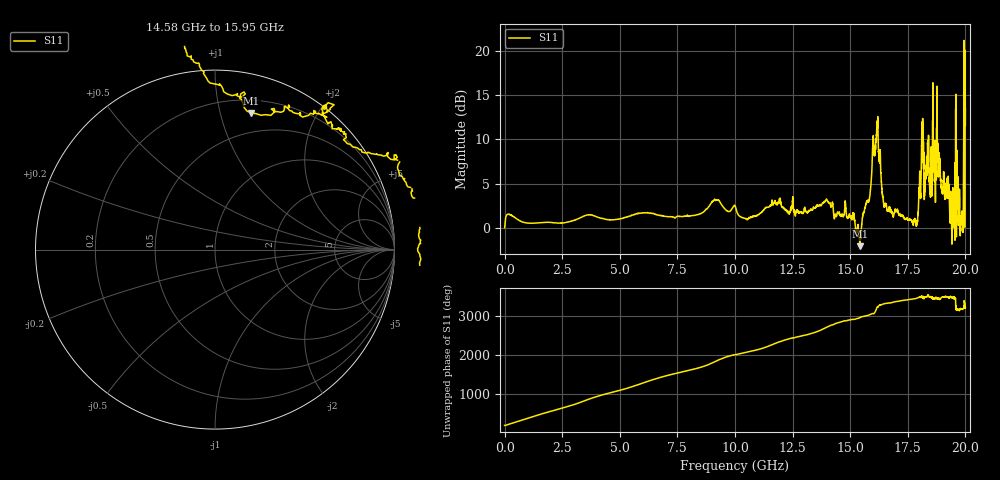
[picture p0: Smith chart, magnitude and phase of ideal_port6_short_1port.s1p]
! Created with skrf 1.8.0 (http://scikit-rf.org).
# GHz S RI R 50.0
!freq ReS11 ImS11
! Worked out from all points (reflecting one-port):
!   10001 points, 1 MHz to 20 GHz, reference 50 ohm
!   lowest |S11| = -2.1 dB at 15.43 GHz (marker M1), VSWR 8.41, Z = 15.6 + j62.6 ohm
!   phase of S11 starts at 180 deg and turns +3018 deg over the sweep
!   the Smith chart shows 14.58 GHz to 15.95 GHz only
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0.001  -1 0.00293
0.9729514  1.057 -0.123
1.530924  -0.2038 1.048
2.500875  -0.1412 -1.056
3.440828  0.0806 1.163
4.312784  -0.2795 -1.088
5.00075  1.122 0.0397
5.934703  -1.205 0.1096
6.450678  0.1919 -1.192
7.500625  0.0626 1.159
8.282586  -1.134 -0.3212
9.084546  1.426 0.1244
10.0005  -1.282 -0.3802
11.14844  1.216 -0.11
11.61842  -0.1505 1.397
12.50038  0.00382 -1.406
13.27034  1.215 0.336
13.9783  -1.448 -0.0948
15.00025  1.128 0.2762
15.42623  0.2021 0.7611
16.0062  -3.106 0.5321
16.13219  0.7262 -2.956
16.24219  2.552 0.8095
17.50013  -1.092 0.1748
18.0941  -0.6571 -2.498
18.84406  -1.637 -1.297
19.81601  0.4926 -0.9995
20  3.46 -3.167
